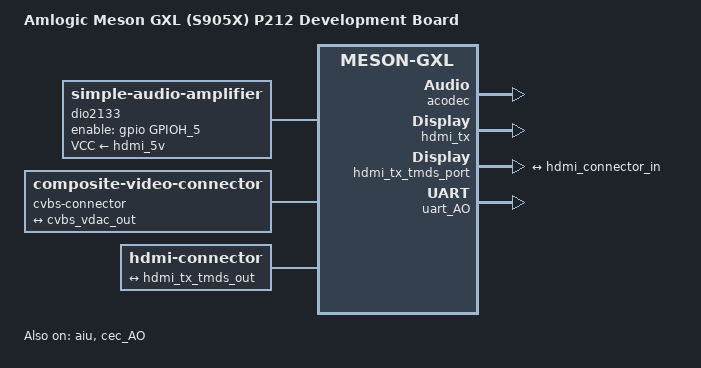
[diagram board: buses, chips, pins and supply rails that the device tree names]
// SPDX-License-Identifier: (GPL-2.0+ OR MIT)
/*
 * Copyright (c) 2016 Endless Computers, Inc.
 * Author: Carlo Caione <carlo@endlessm.com>
 */

/dts-v1/;

#include "meson-gxl-s905x-p212.dtsi"
#include <dt-bindings/sound/meson-aiu.h>

/ {
	compatible = "amlogic,p212", "amlogic,s905x", "amlogic,meson-gxl";
	model = "Amlogic Meson GXL (S905X) P212 Development Board";

	dio2133: analog-amplifier {
		compatible = "simple-audio-amplifier";
		sound-name-prefix = "AU2";
		VCC-supply = <&hdmi_5v>;
		enable-gpios = <&gpio GPIOH_5 GPIO_ACTIVE_HIGH>;
	};

	cvbs-connector {
		compatible = "composite-video-connector";

		port {
			cvbs_connector_in: endpoint {
				remote-endpoint = <&cvbs_vdac_out>;
			};
		};
	};

	hdmi-connector {
		compatible = "hdmi-connector";
		type = "a";

		port {
			hdmi_connector_in: endpoint {
				remote-endpoint = <&hdmi_tx_tmds_out>;
			};
		};
	};

	sound {
		compatible = "amlogic,gx-sound-card";
		model = "S905X-P212";
		audio-aux-devs = <&dio2133>;
		audio-widgets = "Line", "Lineout";
		audio-routing = "AU2 INL", "ACODEC LOLN",
				"AU2 INR", "ACODEC LORN",
				"Lineout", "AU2 OUTL",
				"Lineout", "AU2 OUTR";
		assigned-clocks = <&clkc CLKID_MPLL0>,
				  <&clkc CLKID_MPLL1>,
				  <&clkc CLKID_MPLL2>;
		assigned-clock-parents = <0>, <0>, <0>;
		assigned-clock-rates = <294912000>,
				       <270950400>,
				       <393216000>;
		dai-link-0 {
			sound-dai = <&aiu AIU_CPU CPU_I2S_FIFO>;
		};

		dai-link-1 {
			sound-dai = <&aiu AIU_CPU CPU_I2S_ENCODER>;
			dai-format = "i2s";
			mclk-fs = <256>;

			codec-0 {
				sound-dai = <&aiu AIU_HDMI CTRL_I2S>;
			};

			codec-1 {
				sound-dai = <&aiu AIU_ACODEC CTRL_I2S>;
			};
		};

		dai-link-2 {
			sound-dai = <&aiu AIU_HDMI CTRL_OUT>;

			codec-0 {
				sound-dai = <&hdmi_tx>;
			};
		};

		dai-link-3 {
			sound-dai = <&aiu AIU_ACODEC CTRL_OUT>;

			codec-0 {
				sound-dai = <&acodec>;
			};
		};
	};
};

&acodec {
	AVDD-supply = <&vddio_ao18>;
	status = "okay";
};

&aiu {
	status = "okay";
};

&cec_AO {
	status = "okay";
	pinctrl-0 = <&ao_cec_pins>;
	pinctrl-names = "default";
	hdmi-phandle = <&hdmi_tx>;
};

&cvbs_vdac_port {
	cvbs_vdac_out: endpoint {
		remote-endpoint = <&cvbs_connector_in>;
	};
};

&hdmi_tx {
	status = "okay";
	pinctrl-0 = <&hdmi_hpd_pins>, <&hdmi_i2c_pins>;
	pinctrl-names = "default";
	hdmi-supply = <&hdmi_5v>;
};

&hdmi_tx_tmds_port {
	hdmi_tx_tmds_out: endpoint {
		remote-endpoint = <&hdmi_connector_in>;
	};
};

/* This UART is brought out to the DB9 connector */
&uart_AO {
	status = "okay";
};
